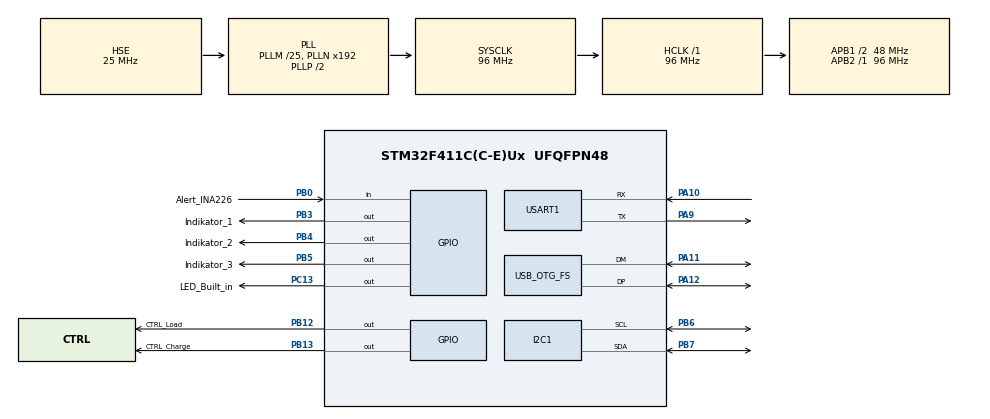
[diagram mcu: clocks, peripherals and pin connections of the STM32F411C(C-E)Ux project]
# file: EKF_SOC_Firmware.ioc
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Mcu.Family=STM32F4
Mcu.Name=STM32F411C(C-E)Ux
Mcu.Package=UFQFPN48
NVIC.OTG_FS_IRQn=true\:0\:0\:false\:false\:true\:false\:true\:true
NVIC.PriorityGroup=NVIC_PRIORITYGROUP_4
PA10.Mode=Asynchronous
PA10.Signal=USART1_RX
PA11.Mode=Device_Only
PA11.Signal=USB_OTG_FS_DM
PA12.Mode=Device_Only
PA12.Signal=USB_OTG_FS_DP
PA13.Mode=Serial_Wire
PA13.Signal=SYS_JTMS-SWDIO
PA14.Mode=Serial_Wire
PA14.Signal=SYS_JTCK-SWCLK
PA9.Mode=Asynchronous
PA9.Signal=USART1_TX
PB0.GPIO_Label=Alert_INA226
PB0.Signal=GPIO_Input
PB12.GPIO_Label=CTRL_Load
PB12.Signal=GPIO_Output
PB13.GPIO_Label=CTRL_Charge
PB13.Signal=GPIO_Output
PB3.GPIO_Label=Indikator_1
PB3.Signal=GPIO_Output
PB4.GPIO_Label=Indikator_2
PB4.Signal=GPIO_Output
PB5.GPIO_Label=Indikator_3
PB5.Signal=GPIO_Output
PB6.Mode=I2C
PB6.Signal=I2C1_SCL
PB7.Mode=I2C
PB7.Signal=I2C1_SDA
PC13-ANTI_TAMP.GPIO_Label=LED_Built_in
PC13-ANTI_TAMP.Signal=GPIO_Output
PH0\ -\ OSC_IN.Mode=HSE-External-Oscillator
PH0\ -\ OSC_IN.Signal=RCC_OSC_IN
PH1\ -\ OSC_OUT.Mode=HSE-External-Oscillator
PH1\ -\ OSC_OUT.Signal=RCC_OSC_OUT
ProjectManager.HeapSize=0x200
ProjectManager.StackSize=0x400
ProjectManager.TargetToolchain=STM32CubeIDE
RCC.48MHZClocksFreq_Value=48000000
RCC.AHBFreq_Value=96000000
RCC.APB1CLKDivider=RCC_HCLK_DIV2
RCC.APB1Freq_Value=48000000
RCC.APB1TimFreq_Value=96000000
RCC.APB2Freq_Value=96000000
RCC.APB2TimFreq_Value=96000000
RCC.CortexFreq_Value=96000000
RCC.HCLKFreq_Value=96000000
RCC.HSE_VALUE=25000000
RCC.HSI_VALUE=16000000
RCC.LSE_VALUE=32768
RCC.PLLM=25
RCC.SYSCLKFreq_VALUE=96000000
RCC.SYSCLKSource=RCC_SYSCLKSOURCE_PLLCLK
RCC.VCOOutputFreq_Value=192000000
USART1.VirtualMode=VM_ASYNC
USB_DEVICE.CLASS_NAME_FS=CDC
USB_DEVICE.VirtualMode=Cdc
USB_DEVICE.VirtualModeFS=Cdc_FS
USB_OTG_FS.VirtualMode=Device_Only
VP_USB_DEVICE_VS_USB_DEVICE_CDC_FS.Mode=CDC_FS
board=custom

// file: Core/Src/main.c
/* USER CODE BEGIN Header */
/**
  ******************************************************************************
  * @file           : main.c
  * @brief          : Main program body
  ******************************************************************************
  * @attention
  *
  * Copyright (c) 2025 STMicroelectronics.
  * All rights reserved.
  *
  * This software is licensed under terms that can be found in the LICENSE file
  * in the root directory of this software component.
  * If no LICENSE file comes with this software, it is provided AS-IS.
  *
  ******************************************************************************
  */
/* USER CODE END Header */
#include "main.h"
#include "i2c.h"
#include "usart.h"
#include "usb_device.h"
#include "gpio.h"

/* USER CODE BEGIN Includes */
#include <stdio.h>
#include <string.h>
#include "F7_INA226.h"
#include "usbd_cdc_if.h"
#include "arm_math.h"
/* USER CODE END Includes */

/* USER CODE BEGIN PD */
#define EKF_SAMPLE_TIME_S (0.1f)      // Waktu sampling 100ms = 0.1s
const uint16_t INA226_I2C_ADDRESS = 0x80;
const float INA226_BUS_VOLTAGE_LSB = 0.00125f;
const float INA226_CURRENT_LSB_MA = 0.5f;

// --- Parameter Model Baterai ---
#define BATTERY_CAPACITY_AH (28.0f)
#define R_TERMINAL (0.01f)
#define R_POLARIZATION (0.005f)
#define C_POLARIZATION (10000.0f)

// --- Inisialisasi State Awal ---
#define INITIAL_SOC (1.0f)      // Kondisi SOC awal (1.0 = 100%)
#define INITIAL_VP  (0.0f)      // Kondisi Vp awal (Volt)

/* USER CODE END PD */

/* USER CODE BEGIN PV */
// --- Variabel dan Matriks EKF (dibuat static agar nilainya persisten) ---
static float32_t x_data[2] = {INITIAL_SOC, INITIAL_VP}; // State: [SOC; Vp]
static float32_t P_data[4] = {1e-4f, 0.0f, 0.0f, 1e-3f}; // Kovariansi Error State
static float32_t Q_data[4] = {1e-4f, 0.0f, 0.0f, 1e-3f}; // Kovariansi Noise Proses
static float32_t R_data[1] = {1e-2f}; // Kovariansi Noise Pengukuran

static arm_matrix_instance_f32 x; // Vektor State [SOC; Vp] (2x1)
static arm_matrix_instance_f32 P; // Matriks Kovariansi Error (2x2)
static arm_matrix_instance_f32 Q; // Matriks Noise Proses (2x2)
static arm_matrix_instance_f32 R; // Matriks Noise Pengukuran (1x1)

// --- Variabel untuk Model Baterai (Lookup Table) ---
static const float SOC_lookup[6] = {0.0f, 0.2f, 0.4f, 0.6f, 0.8f, 1.0f};
static const float Em_lookup[6]  = {2.775f, 3.0f, 3.7f, 3.8f, 4.0f, 4.3068f};
static const int lookup_size = 6;

// --- Variabel untuk Coulomb Counting ---
static float32_t soc_coulomb_counting = INITIAL_SOC;

/* USER CODE END PV */

void SystemClock_Config(void);
/* USER CODE BEGIN PFP */
void EKF_Init(void);
void EKF_Update(float Vt_meas, float I_meas);
float get_OCV_from_SOC(float soc);
float get_dOCV_dSOC(float soc);
/* USER CODE END PFP */

int main(void)
{

  /* MCU Configuration--------------------------------------------------------*/

  /* Reset of all peripherals, Initializes the Flash interface and the Systick. */
  HAL_Init();

  /* Configure the system clock */
  SystemClock_Config();

  /* Initialize all configured peripherals */
  MX_GPIO_Init();
  MX_I2C1_Init();
  MX_USART1_UART_Init();
  MX_USB_DEVICE_Init();
  /* USER CODE BEGIN 2 */

  // Inisialisasi EKF
    EKF_Init();

    // Konfigurasi awal untuk INA226
    uint16_t config = INA226_AVG_16 | INA226_VBUS_588uS | INA226_VSH_588uS | INA226_MODE_CONT_SHUNT_AND_BUS;
    INA226_setConfig(&hi2c1, INA226_I2C_ADDRESS, config);

  /* USER CODE END 2 */

  /* Infinite loop */
  /* USER CODE BEGIN WHILE */
  while (1)
  {
	  // 1. Baca data sensor dari INA226
	      float measured_voltage = (float)INA226_getBusVReg(&hi2c1, INA226_I2C_ADDRESS) * INA226_BUS_VOLTAGE_LSB;
	      // Arus dibaca dalam mA, lalu diubah ke A. Arus positif = discharge.
	      float measured_current_mA = (float)((int16_t)INA226_getCurrentReg(&hi2c1, INA226_I2C_ADDRESS)) * INA226_CURRENT_LSB_MA;
	      float measured_current_A = measured_current_mA / 1000.0f;

	      // 2. Jalankan satu siklus EKF
	      EKF_Update(measured_voltage, measured_current_A);

	      // 3. Hitung SoC menggunakan Coulomb Counting
	      float soc_delta = (measured_current_A * EKF_SAMPLE_TIME_S) / (BATTERY_CAPACITY_AH * 3600.0f);
	      soc_coulomb_counting -= soc_delta;
	      soc_coulomb_counting = fmaxf(0.0f, fminf(1.0f, soc_coulomb_counting)); // Clamping

	      // 4. Ambil hasil estimasi dari EKF
	      float estimated_soc_ekf = x_data[0] * 100.0f; // Ubah ke format persen
	      float estimated_soc_cc = soc_coulomb_counting * 100.0f;

	      // 5. Tampilkan hasil perbandingan melalui USB VCP
	      char tx_buffer[128];
	      sprintf(tx_buffer, "EKF:%.2f%% | CC:%.2f%% | V:%.3fV | I:%.3fA\r\n",
	              estimated_soc_ekf, estimated_soc_cc, measured_voltage, measured_current_A);
	      CDC_Transmit_FS((uint8_t*)tx_buffer, strlen(tx_buffer));

	      // Jeda 100ms sesuai waktu sampling
	      HAL_Delay(100);

    /* USER CODE END WHILE */

  }
}

void SystemClock_Config(void)
{
  RCC_OscInitTypeDef RCC_OscInitStruct = {0};
  RCC_ClkInitTypeDef RCC_ClkInitStruct = {0};

  /** Configure the main internal regulator output voltage
  */
  __HAL_RCC_PWR_CLK_ENABLE();
  __HAL_PWR_VOLTAGESCALING_CONFIG(PWR_REGULATOR_VOLTAGE_SCALE1);

  /** Initializes the RCC Oscillators according to the specified parameters
  * in the RCC_OscInitTypeDef structure.
  */
  RCC_OscInitStruct.OscillatorType = RCC_OSCILLATORTYPE_HSE;
  RCC_OscInitStruct.HSEState = RCC_HSE_ON;
  RCC_OscInitStruct.PLL.PLLState = RCC_PLL_ON;
  RCC_OscInitStruct.PLL.PLLSource = RCC_PLLSOURCE_HSE;
  RCC_OscInitStruct.PLL.PLLM = 25;
  RCC_OscInitStruct.PLL.PLLN = 192;
  RCC_OscInitStruct.PLL.PLLP = RCC_PLLP_DIV2;
  RCC_OscInitStruct.PLL.PLLQ = 4;
  if (HAL_RCC_OscConfig(&RCC_OscInitStruct) != HAL_OK)
  {
    Error_Handler();
  }

  /** Initializes the CPU, AHB and APB buses clocks
  */
  RCC_ClkInitStruct.ClockType = RCC_CLOCKTYPE_HCLK|RCC_CLOCKTYPE_SYSCLK
                              |RCC_CLOCKTYPE_PCLK1|RCC_CLOCKTYPE_PCLK2;
  RCC_ClkInitStruct.SYSCLKSource = RCC_SYSCLKSOURCE_PLLCLK;
  RCC_ClkInitStruct.AHBCLKDivider = RCC_SYSCLK_DIV1;
  RCC_ClkInitStruct.APB1CLKDivider = RCC_HCLK_DIV2;
  RCC_ClkInitStruct.APB2CLKDivider = RCC_HCLK_DIV1;

  if (HAL_RCC_ClockConfig(&RCC_ClkInitStruct, FLASH_LATENCY_3) != HAL_OK)
  {
    Error_Handler();
  }
}

/* USER CODE BEGIN 4 */

/**
  * @brief Menghitung OCV dari SOC menggunakan lookup table dengan interpolasi linear.
  * @note  Fungsi ini bisa diganti dengan model polinomial di masa depan.
  */
float get_OCV_from_SOC(float soc)
{
    if (soc <= SOC_lookup[0]) return Em_lookup[0];
    if (soc >= SOC_lookup[lookup_size - 1]) return Em_lookup[lookup_size - 1];

    for (int i = 0; i < lookup_size - 1; i++) {
        if (soc >= SOC_lookup[i] && soc < SOC_lookup[i+1]) {
            return Em_lookup[i] + (soc - SOC_lookup[i]) * (Em_lookup[i+1] - Em_lookup[i]) / (SOC_lookup[i+1] - SOC_lookup[i]);
        }
    }
    return Em_lookup[lookup_size - 1]; // Fallback jika tidak ada segmen yang cocok
}

/**
  * @brief Menghitung turunan dOCV/dSOC (gradien) dari kurva OCV-SOC.
  * @note  Fungsi ini bisa diganti dengan turunan dari model polinomial.
  */
float get_dOCV_dSOC(float soc)
{
    float delta_soc = 0.0f, delta_em = 0.0f;

    if (soc <= SOC_lookup[0]) {
        delta_soc = SOC_lookup[1] - SOC_lookup[0];
        delta_em = Em_lookup[1] - Em_lookup[0];
    } else if (soc >= SOC_lookup[lookup_size - 1]) {
        delta_soc = SOC_lookup[lookup_size - 1] - SOC_lookup[lookup_size - 2];
        delta_em = Em_lookup[lookup_size - 1] - Em_lookup[lookup_size - 2];
    } else {
        for (int i = 0; i < lookup_size - 1; i++) {
            if (soc >= SOC_lookup[i] && soc < SOC_lookup[i+1]) {
                delta_soc = SOC_lookup[i+1] - SOC_lookup[i];
                delta_em = Em_lookup[i+1] - Em_lookup[i];
                break;
            }
        }
    }

    if (fabsf(delta_soc) < 1e-9f) { // Hindari pembagian dengan nol
        return 0.0f;
    }
    return delta_em / delta_soc;
}

/**
  * @brief Inisialisasi matriks EKF.
  */
void EKF_Init(void)
{
    // Hubungkan data array dengan struktur instance matriks CMSIS-DSP
    arm_mat_init_f32(&x, 2, 1, x_data);
    arm_mat_init_f32(&P, 2, 2, P_data);
    arm_mat_init_f32(&Q, 2, 2, Q_data);
    arm_mat_init_f32(&R, 1, 1, R_data);
}

/**
  * @brief Menjalankan satu langkah EKF (Prediksi dan Koreksi).
  */
void EKF_Update(float Vt_meas, float I_meas)
{
    // --- Deklarasi Matriks Lokal & Variabel ---
    float32_t A_data[4], B_data[2], P_pred_data[4], H_data[2], K_data[2];
    float32_t temp_mat_2x2_1_data[4], temp_mat_2x2_2_data[4];
    float32_t temp_vec_2x1_1_data[2];
    float32_t S_k_data[1], S_k_inv_data[1], H_T_data[2];

    arm_matrix_instance_f32 A, B, P_pred, H, K, H_T;
    arm_matrix_instance_f32 temp_mat1, temp_mat2, temp_vec1;
    arm_matrix_instance_f32 S_k, S_k_inv;

    // Inisialisasi semua instance matriks lokal
    arm_mat_init_f32(&A, 2, 2, A_data);
    arm_mat_init_f32(&B, 2, 1, B_data);
    arm_mat_init_f32(&P_pred, 2, 2, P_pred_data);
    arm_mat_init_f32(&H, 1, 2, H_data);
    arm_mat_init_f32(&K, 2, 1, K_data);
    arm_mat_init_f32(&H_T, 2, 1, H_T_data);
    arm_mat_init_f32(&temp_mat1, 2, 2, temp_mat_2x2_1_data);
    arm_mat_init_f32(&temp_mat2, 2, 2, temp_mat_2x2_2_data);
    arm_mat_init_f32(&temp_vec1, 2, 1, temp_vec_2x1_1_data);
    arm_mat_init_f32(&S_k, 1, 1, S_k_data);
    arm_mat_init_f32(&S_k_inv, 1, 1, S_k_inv_data);

    // --- Langkah 1: PREDIKSI STATE ---
    float alpha = expf(-EKF_SAMPLE_TIME_S / (R_POLARIZATION * C_POLARIZATION));
    A_data[0] = 1.0f; A_data[1] = 0.0f;
    A_data[2] = 0.0f; A_data[3] = alpha;

    B_data[0] = -EKF_SAMPLE_TIME_S / (BATTERY_CAPACITY_AH * 3600.0f);
    B_data[1] = R_POLARIZATION * (1.0f - alpha);

    float32_t B_I_data[2];
    arm_matrix_instance_f32 B_I;
    arm_mat_init_f32(&B_I, 2, 1, B_I_data);
    arm_scale_f32(B_data, I_meas, B_I_data, 2); // B_I = B * I_meas

    float32_t x_pred_data[2];
    arm_matrix_instance_f32 x_pred;
    arm_mat_init_f32(&x_pred, 2, 1, x_pred_data);

    arm_mat_mult_f32(&A, &x, &temp_vec1);        // temp_vec1 = A * x
    arm_mat_add_f32(&temp_vec1, &B_I, &x_pred);  // x_pred = A*x + B*I

    x_pred_data[0] = fmaxf(0.0f, fminf(1.0f, x_pred_data[0])); // Clamp SOC [0,1]

    // --- Langkah 2: PREDIKSI KOVARIANS ERROR ---
    // P_pred = A * P * A' + Q
    arm_mat_trans_f32(&A, &H_T); // Gunakan H_T sementara untuk A transpose
    arm_mat_mult_f32(&A, &P, &temp_mat1);
    arm_mat_mult_f32(&temp_mat1, &H_T, &P_pred);
    arm_mat_add_f32(&P_pred, &Q, &P_pred);

    // --- Langkah 3: PREDIKSI PENGUKURAN ---
    float soc_pred = x_pred_data[0];
    float vp_pred = x_pred_data[1];
    float voc_pred = get_OCV_from_SOC(soc_pred);
    // Arus positif = discharge, sehingga mengurangi tegangan terminal
    float vt_pred = voc_pred - vp_pred - (R_TERMINAL * I_meas);

    // --- Langkah 4: HITUNG JACOBIAN (H) ---
    H_data[0] = get_dOCV_dSOC(soc_pred);
    H_data[1] = -1.0f;

    // --- Langkah 5: HITUNG INOVASI ---
    float e_innov = Vt_meas - vt_pred;

    // --- Langkah 6: HITUNG KOVARIANS INOVASI ---
    // S_k = H * P_pred * H' + R
    arm_mat_trans_f32(&H, &H_T);
    arm_mat_mult_f32(&H, &P_pred, &temp_vec1); // temp_vec1 (1x2)
    arm_mat_mult_f32(&temp_vec1, &H_T, &S_k);
    arm_mat_add_f32(&S_k, &R, &S_k);

    // --- Langkah 7: HITUNG KALMAN GAIN ---
    // K = P_pred * H' * inv(S_k)
    if (fabsf(S_k_data[0]) > 1e-9f) {
        arm_mat_inverse_f32(&S_k, &S_k_inv); // Invers dari matriks 1x1
        arm_mat_mult_f32(&P_pred, &H_T, &temp_vec1); // temp_vec1(2x1)
        arm_scale_f32(temp_vec1.pData, S_k_inv_data[0], K.pData, 2); // K = temp_vec1 * S_k_inv
    } else {
        K_data[0] = 0.0f; K_data[1] = 0.0f; // Reset gain jika S_k singular
    }

    // --- Langkah 8: UPDATE STATE ---
    // x = x_pred + K * e_innov
    arm_scale_f32(K.pData, e_innov, temp_vec1.pData, 2);
    arm_mat_add_f32(&x_pred, &temp_vec1, &x);

    x_data[0] = fmaxf(0.0f, fminf(1.0f, x_data[0])); // Clamp corrected SOC

    // --- Langkah 9: UPDATE KOVARIANS ERROR ---
    // P = (I - K * H) * P_pred
    arm_matrix_instance_f32 I; // Matriks Identitas 2x2
    float32_t I_data[4] = {1.0f, 0.0f, 0.0f, 1.0f};
    arm_mat_init_f32(&I, 2, 2, I_data);

    arm_mat_mult_f32(&K, &H, &temp_mat1);
    arm_mat_sub_f32(&I, &temp_mat1, &temp_mat2);
    arm_mat_mult_f32(&temp_mat2, &P_pred, &P);
}

/* USER CODE END 4 */

void Error_Handler(void)
{
  __disable_irq();
  while (1)
  {
  }
}
